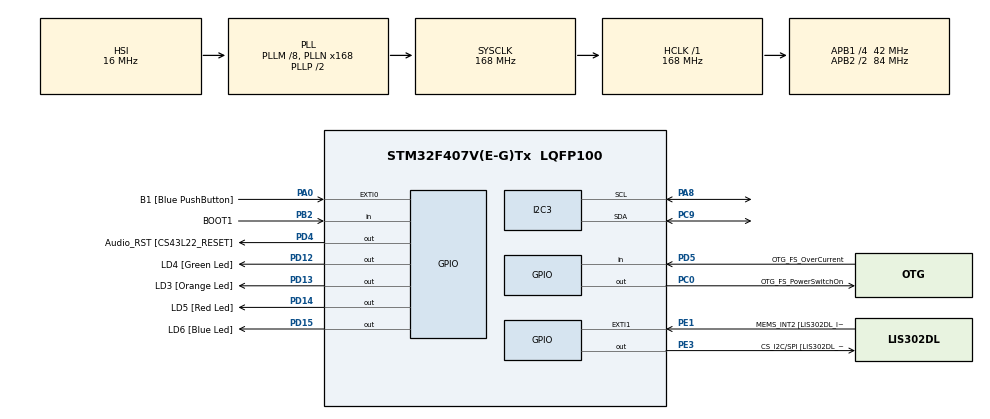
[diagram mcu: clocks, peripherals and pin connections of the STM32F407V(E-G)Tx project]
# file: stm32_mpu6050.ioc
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Mcu.Family=STM32F4
Mcu.Name=STM32F407V(E-G)Tx
Mcu.Package=LQFP100
NVIC.PriorityGroup=NVIC_PRIORITYGROUP_0
PA0-WKUP.GPIO_Label=B1 [Blue PushButton]
PA0-WKUP.Signal=GPXTI0
PA10.GPIO_Label=OTG_FS_ID
PA10.GPIO_Mode=GPIO_MODE_AF_PP
PA10.GPIO_PuPd=GPIO_NOPULL
PA10.GPIO_Speed=GPIO_SPEED_FREQ_LOW
PA10.Signal=USB_OTG_FS_ID
PA11.GPIO_Label=OTG_FS_DM
PA11.GPIO_Mode=GPIO_MODE_AF_PP
PA11.GPIO_PuPd=GPIO_NOPULL
PA11.GPIO_Speed=GPIO_SPEED_FREQ_LOW
PA11.Signal=USB_OTG_FS_DM
PA12.GPIO_Label=OTG_FS_DP
PA12.GPIO_Mode=GPIO_MODE_AF_PP
PA12.GPIO_PuPd=GPIO_NOPULL
PA12.GPIO_Speed=GPIO_SPEED_FREQ_LOW
PA12.Signal=USB_OTG_FS_DP
PA13.GPIO_Label=SWDIO
PA13.Signal=SYS_JTMS-SWDIO
PA14.GPIO_Label=SWCLK
PA14.Signal=SYS_JTCK-SWCLK
PA4.GPIO_Label=I2S3_WS [CS43L22_LRCK]
PA4.GPIO_Mode=GPIO_MODE_AF_PP
PA4.GPIO_PuPd=GPIO_NOPULL
PA4.GPIO_Speed=GPIO_SPEED_FREQ_LOW
PA4.Signal=I2S3_WS
PA5.GPIO_Label=SPI1_SCK [LIS302DL_SCL/SPC]
PA5.GPIO_Mode=GPIO_MODE_AF_PP
PA5.GPIO_PuPd=GPIO_NOPULL
PA5.GPIO_Speed=GPIO_SPEED_FREQ_LOW
PA5.Signal=SPI1_SCK
PA6.GPIO_Label=SPI1_MISO [LIS302DL_SDO]
PA6.GPIO_Mode=GPIO_MODE_AF_PP
PA6.GPIO_PuPd=GPIO_NOPULL
PA6.GPIO_Speed=GPIO_SPEED_FREQ_LOW
PA6.Signal=SPI1_MISO
PA7.GPIO_Label=SPI1_MOSI [LIS302DL_SDA/SDI/SDO]
PA7.GPIO_Mode=GPIO_MODE_AF_PP
PA7.GPIO_PuPd=GPIO_NOPULL
PA7.GPIO_Speed=GPIO_SPEED_FREQ_LOW
PA7.Signal=SPI1_MOSI
PA8.Mode=I2C
PA8.Signal=I2C3_SCL
PA9.GPIO_Label=VBUS_FS
PA9.GPIO_Mode=GPIO_MODE_INPUT
PA9.GPIO_PuPd=GPIO_NOPULL
PA9.Signal=USB_OTG_FS_VBUS
PB10.GPIO_Label=CLK_IN [MP45DT02_CLK]
PB10.GPIO_Mode=GPIO_MODE_AF_PP
PB10.GPIO_PuPd=GPIO_NOPULL
PB10.GPIO_Speed=GPIO_SPEED_FREQ_LOW
PB10.Signal=I2S2_CK
PB2.GPIO_Label=BOOT1
PB2.GPIO_Mode=GPIO_MODE_INPUT
PB2.GPIO_PuPd=GPIO_NOPULL
PB2.Signal=GPIO_Input
PB3.GPIO_Label=SWO
PB3.Signal=SYS_JTDO-SWO
PB6.GPIO_Label=Audio_SCL [CS43L22_SCL]
PB6.GPIO_Mode=GPIO_MODE_AF_OD
PB6.GPIO_PuPd=GPIO_NOPULL
PB6.GPIO_Speed=GPIO_SPEED_FREQ_LOW
PB6.Signal=I2C1_SCL
PB9.GPIO_Label=Audio_SDA [CS43L22_SDA]
PB9.GPIO_Mode=GPIO_MODE_AF_OD
PB9.GPIO_PuPd=GPIO_NOPULL
PB9.GPIO_Speed=GPIO_SPEED_FREQ_LOW
PB9.Signal=I2C1_SDA
PC0.GPIO_Label=OTG_FS_PowerSwitchOn
PC0.GPIO_PuPd=GPIO_NOPULL
PC0.GPIO_Speed=GPIO_SPEED_FREQ_LOW
PC0.PinState=GPIO_PIN_SET
PC0.Signal=GPIO_Output
PC10.GPIO_Label=I2S3_SCK [CS43L22_SCLK]
PC10.GPIO_Mode=GPIO_MODE_AF_PP
PC10.GPIO_PuPd=GPIO_NOPULL
PC10.GPIO_Speed=GPIO_SPEED_FREQ_LOW
PC10.Signal=I2S3_CK
PC12.GPIO_Label=I2S3_SD [CS43L22_SDIN]
PC12.GPIO_Mode=GPIO_MODE_AF_PP
PC12.GPIO_PuPd=GPIO_NOPULL
PC12.GPIO_Speed=GPIO_SPEED_FREQ_LOW
PC12.Signal=I2S3_SD
PC14-OSC32_IN.GPIO_Label=PC14-OSC32_IN
PC14-OSC32_IN.Signal=RCC_OSC32_IN
PC15-OSC32_OUT.GPIO_Label=PC15-OSC32_OUT
PC15-OSC32_OUT.Signal=RCC_OSC32_OUT
PC3.GPIO_Label=PDM_OUT [MP45DT02_DOUT]
PC3.GPIO_Mode=GPIO_MODE_AF_PP
PC3.GPIO_PuPd=GPIO_NOPULL
PC3.GPIO_Speed=GPIO_SPEED_FREQ_LOW
PC3.Signal=I2S2_SD
PC7.GPIO_Label=I2S3_MCK [CS43L22_MCLK]
PC7.GPIO_Mode=GPIO_MODE_AF_PP
PC7.GPIO_PuPd=GPIO_NOPULL
PC7.GPIO_Speed=GPIO_SPEED_FREQ_LOW
PC7.Signal=I2S3_MCK
PC9.Mode=I2C
PC9.Signal=I2C3_SDA
PD12.GPIO_Label=LD4 [Green Led]
PD12.GPIO_PuPd=GPIO_NOPULL
PD12.GPIO_Speed=GPIO_SPEED_FREQ_LOW
PD12.Signal=GPIO_Output
PD13.GPIO_Label=LD3 [Orange Led]
PD13.GPIO_PuPd=GPIO_NOPULL
PD13.GPIO_Speed=GPIO_SPEED_FREQ_LOW
PD13.Signal=GPIO_Output
PD14.GPIO_Label=LD5 [Red Led]
PD14.GPIO_PuPd=GPIO_NOPULL
PD14.GPIO_Speed=GPIO_SPEED_FREQ_LOW
PD14.Signal=GPIO_Output
PD15.GPIO_Label=LD6 [Blue Led]
PD15.GPIO_PuPd=GPIO_NOPULL
PD15.GPIO_Speed=GPIO_SPEED_FREQ_LOW
PD15.Signal=GPIO_Output
PD4.GPIO_Label=Audio_RST [CS43L22_RESET]
PD4.GPIO_PuPd=GPIO_NOPULL
PD4.GPIO_Speed=GPIO_SPEED_FREQ_LOW
PD4.Signal=GPIO_Output
PD5.GPIO_Label=OTG_FS_OverCurrent
PD5.GPIO_Mode=GPIO_MODE_INPUT
PD5.GPIO_PuPd=GPIO_NOPULL
PD5.Signal=GPIO_Input
PE1.GPIO_Label=MEMS_INT2 [LIS302DL_INT2]
PE1.GPIO_ModeDefaultEXTI=GPIO_MODE_EVT_RISING
PE1.GPIO_PuPd=GPIO_NOPULL
PE1.Signal=GPXTI1
PE3.GPIO_Label=CS_I2C/SPI [LIS302DL_CS_I2C/SPI]
PE3.GPIO_PuPd=GPIO_NOPULL
PE3.GPIO_Speed=GPIO_SPEED_FREQ_LOW
PE3.Signal=GPIO_Output
PH0-OSC_IN.GPIO_Label=PH0-OSC_IN
PH0-OSC_IN.Mode=HSE-External-Oscillator
PH0-OSC_IN.Signal=RCC_OSC_IN
PH1-OSC_OUT.GPIO_Label=PH1-OSC_OUT
PH1-OSC_OUT.Mode=HSE-External-Oscillator
PH1-OSC_OUT.Signal=RCC_OSC_OUT
ProjectManager.HeapSize=0x200
ProjectManager.StackSize=0x400
ProjectManager.TargetToolchain=MDK-ARM V5.32
RCC.48MHZClocksFreq_Value=48000000
RCC.AHBFreq_Value=168000000
RCC.APB1CLKDivider=RCC_HCLK_DIV4
RCC.APB1Freq_Value=42000000
RCC.APB1TimFreq_Value=84000000
RCC.APB2CLKDivider=RCC_HCLK_DIV2
RCC.APB2Freq_Value=84000000
RCC.APB2TimFreq_Value=168000000
RCC.CortexFreq_Value=168000000
RCC.HCLKFreq_Value=168000000
RCC.HSE_VALUE=8000000
RCC.HSI_VALUE=16000000
RCC.LSE_VALUE=32768
RCC.PLLM=8
RCC.PLLN=168
RCC.PLLQ=7
RCC.SYSCLKFreq_VALUE=168000000
RCC.SYSCLKSource=RCC_SYSCLKSOURCE_PLLCLK
RCC.VCOOutputFreq_Value=336000000
board=STM32F407G-DISC1

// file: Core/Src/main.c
/* USER CODE BEGIN Header */
/**
  ******************************************************************************
  * @file           : main.c
  * @brief          : Main program body
  ******************************************************************************
  * @attention
  *
  * Copyright (c) 2024 STMicroelectronics.
  * All rights reserved.
  *
  * This software is licensed under terms that can be found in the LICENSE file
  * in the root directory of this software component.
  * If no LICENSE file comes with this software, it is provided AS-IS.
  *
  ******************************************************************************
  */
/* USER CODE END Header */
#include "main.h"

/* USER CODE BEGIN Includes */
#include "i2c-lcd.h"
#include "stdio.h"
/* USER CODE END Includes */

I2C_HandleTypeDef hi2c3;

void SystemClock_Config(void);
static void MX_GPIO_Init(void);
static void MX_I2C3_Init(void);

/* USER CODE BEGIN 0 */
#define MPU6050_ADDR 				0xD0

#define SMPLRT_DIV_REG 			0x19
#define GYRO_CONFIG_REG 		0x1B
#define ACCEL_CONFIG_REG 		0x1C
#define ACCEL_XOUT_H_REG 		0x3B
#define TEMP_OUT_H_REG 			0x41
#define GYRO_XOUT_H_REG 		0x43
#define PWR_MGMT_1_REG 			0x6B
#define WHO_I_AM_REG 				0X75

void MPU6050_Init(void)
{
	uint8_t check, data;
	HAL_I2C_Mem_Read(&hi2c3, MPU6050_ADDR, WHO_I_AM_REG,1,&check,1,1000);
	if (check == 104) // if the device is present
	{
		// Power management register 0x6B we should write all 0's to wake up sensor
		data = 0;
		HAL_I2C_Mem_Write(&hi2c3, MPU6050_ADDR, PWR_MGMT_1_REG, 1, &data, 1, 1000);

		// Set the DATA RATE of 1Khz by writing SMPLRT_DIV register
		data = 0x07;
		HAL_I2C_Mem_Write(&hi2c3, MPU6050_ADDR, SMPLRT_DIV_REG, 1, &data, 1, 1000);\

		//Set Accelerometer configuration in ACCEL_CONFIG Register
		//XA_ST = 0, YA_ST = 0, ZA_ST = 0 ->  +-2g
		data = 0x00;
		HAL_I2C_Mem_Write(&hi2c3, MPU6050_ADDR, ACCEL_CONFIG_REG, 1, &data, 1, 1000);

		//Set Accelerometer configuration in ACCEL_CONFIG Register
		//XA_ST = 0, YA_ST = 0, ZA_ST = 0 ->  +-250%s
		data = 0x00;
		HAL_I2C_Mem_Write(&hi2c3, MPU6050_ADDR, GYRO_CONFIG_REG, 1, &data, 1, 1000);
	}
}

void MPU6050_Read_Accel(float *Ax, float *Ay, float *Az)
{
	uint8_t Rec_Data[6];
	uint16_t Accel_X_RAW, Accel_Y_RAW, Accel_Z_RAW;
//	float Ax, Ay, Az;
	// Read 6 BYTES of data starting from ACCEL_XOUT_H register

	HAL_I2C_Mem_Read (&hi2c3, MPU6050_ADDR, ACCEL_XOUT_H_REG, 1, Rec_Data, 6, 1000);

	Accel_X_RAW = (int16_t)(Rec_Data[0] << 8 | Rec_Data [1]);
	Accel_Y_RAW = (int16_t)(Rec_Data[2] << 8 | Rec_Data [3]);
	Accel_Z_RAW = (int16_t)(Rec_Data[4] << 8 | Rec_Data [5]);

	/*** convert the RAW values into acceleration in 'g'
			 we have to divide according to the Full scale value set in FS_SEL
			 I have configured FS_SEL = 0. So I am dividing by 16384.0
			 for more details check ACCEL_CONFIG Register              ****/

	*Ax = Accel_X_RAW/16384.0;  // get the float g
	*Ay = Accel_Y_RAW/16384.0;
	*Az = Accel_Z_RAW/16384.0;
}

void MPU6050_Read_Gyro (float *Gx, float *Gy, float *Gz)
{
	uint8_t Rec_Data[6];
	uint16_t Gyro_X_RAW,Gyro_Y_RAW, Gyro_Z_RAW;
//	float Gx, Gy, Gz;
		// Read 6 BYTES of data starting from GYRO_XOUT_H register

	HAL_I2C_Mem_Read (&hi2c3, MPU6050_ADDR, GYRO_XOUT_H_REG, 1, Rec_Data, 6, 1000);

	Gyro_X_RAW = (int16_t)(Rec_Data[0] << 8 | Rec_Data [1]);
	Gyro_Y_RAW = (int16_t)(Rec_Data[2] << 8 | Rec_Data [3]);
	Gyro_Z_RAW = (int16_t)(Rec_Data[4] << 8 | Rec_Data [5]);

	/*** convert the RAW values into dps (°/s)
			 we have to divide according to the Full scale value set in FS_SEL
			 I have configured FS_SEL = 0. So I am dividing by 131.0
			 for more details check GYRO_CONFIG Register              ****/

	*Gx = Gyro_X_RAW/131.0;
	*Gy = Gyro_Y_RAW/131.0;
	*Gz = Gyro_Z_RAW/131.0;
}
/* USER CODE END 0 */

int main(void)
{

  /* MCU Configuration--------------------------------------------------------*/

  /* Reset of all peripherals, Initializes the Flash interface and the Systick. */
  HAL_Init();

  /* Configure the system clock */
  SystemClock_Config();

  /* Initialize all configured peripherals */
  MX_GPIO_Init();
  MX_I2C3_Init();
  /* USER CODE BEGIN 2 */
	lcd_init();
	MPU6050_Init();

	lcd_send_string("Initialized..");
	HAL_Delay(1000);
	lcd_clear();

	lcd_send_cmd (0x80 | 0x45);
	lcd_send_string("MPU6050");

	HAL_Delay(1000);
	lcd_clear();

	char buf[6];
	float Gx, Gy, Gz;
	float Ax, Ay, Az;
  /* USER CODE END 2 */

  /* Infinite loop */
  while (1)
  {
    MPU6050_Read_Accel(&Ax, &Ay, &Az);
    MPU6050_Read_Gyro(&Gx, &Gy, &Gz);
		// Print on LCD;

		lcd_send_cmd(0x80 | 0x00 );
		lcd_send_string("Ax=");
	  sprintf(buf, "%.2f", Ax);
		lcd_send_string (buf);
		lcd_send_string ("g ");

		lcd_send_cmd(0x80 | 0x40 );
		lcd_send_string("Ay=");
	  sprintf(buf, "%.2f", Ay);
		lcd_send_string (buf);
		lcd_send_string ("g ");

		lcd_send_cmd(0x80 | 0x10 );
		lcd_send_string("Az=");
	  sprintf(buf, "%.2f", Az);
		lcd_send_string (buf);
		lcd_send_string ("g ");
//
		lcd_send_cmd(0x80 | 0x09 );
		lcd_send_string("Gx=");
	  sprintf(buf, "%.2f", Gx);
		lcd_send_string (buf);
//		lcd_send_string ("g ");

		lcd_send_cmd(0x80 | 0x49);
		lcd_send_string("Gy=");
	  sprintf(buf, "%.2f", Gy);
		lcd_send_string (buf);
//		lcd_send_string ("g ");

		lcd_send_cmd(0x80 | 0x18 );
		lcd_send_string("Gz=");
	  sprintf(buf, "%.2f", Gz);
		lcd_send_string (buf);
//		lcd_send_string ("g ");

  }
}

void SystemClock_Config(void)
{
  RCC_OscInitTypeDef RCC_OscInitStruct = {0};
  RCC_ClkInitTypeDef RCC_ClkInitStruct = {0};

  /** Configure the main internal regulator output voltage
  */
  __HAL_RCC_PWR_CLK_ENABLE();
  __HAL_PWR_VOLTAGESCALING_CONFIG(PWR_REGULATOR_VOLTAGE_SCALE1);

  /** Initializes the RCC Oscillators according to the specified parameters
  * in the RCC_OscInitTypeDef structure.
  */
  RCC_OscInitStruct.OscillatorType = RCC_OSCILLATORTYPE_HSI;
  RCC_OscInitStruct.HSIState = RCC_HSI_ON;
  RCC_OscInitStruct.HSICalibrationValue = RCC_HSICALIBRATION_DEFAULT;
  RCC_OscInitStruct.PLL.PLLState = RCC_PLL_ON;
  RCC_OscInitStruct.PLL.PLLSource = RCC_PLLSOURCE_HSI;
  RCC_OscInitStruct.PLL.PLLM = 8;
  RCC_OscInitStruct.PLL.PLLN = 168;
  RCC_OscInitStruct.PLL.PLLP = RCC_PLLP_DIV2;
  RCC_OscInitStruct.PLL.PLLQ = 7;
  if (HAL_RCC_OscConfig(&RCC_OscInitStruct) != HAL_OK)
  {
    Error_Handler();
  }

  /** Initializes the CPU, AHB and APB buses clocks
  */
  RCC_ClkInitStruct.ClockType = RCC_CLOCKTYPE_HCLK|RCC_CLOCKTYPE_SYSCLK
                              |RCC_CLOCKTYPE_PCLK1|RCC_CLOCKTYPE_PCLK2;
  RCC_ClkInitStruct.SYSCLKSource = RCC_SYSCLKSOURCE_PLLCLK;
  RCC_ClkInitStruct.AHBCLKDivider = RCC_SYSCLK_DIV1;
  RCC_ClkInitStruct.APB1CLKDivider = RCC_HCLK_DIV4;
  RCC_ClkInitStruct.APB2CLKDivider = RCC_HCLK_DIV2;

  if (HAL_RCC_ClockConfig(&RCC_ClkInitStruct, FLASH_LATENCY_5) != HAL_OK)
  {
    Error_Handler();
  }
}

static void MX_I2C3_Init(void)
{

  hi2c3.Instance = I2C3;
  hi2c3.Init.ClockSpeed = 100000;
  hi2c3.Init.DutyCycle = I2C_DUTYCYCLE_2;
  hi2c3.Init.OwnAddress1 = 0;
  hi2c3.Init.AddressingMode = I2C_ADDRESSINGMODE_7BIT;
  hi2c3.Init.DualAddressMode = I2C_DUALADDRESS_DISABLE;
  hi2c3.Init.OwnAddress2 = 0;
  hi2c3.Init.GeneralCallMode = I2C_GENERALCALL_DISABLE;
  hi2c3.Init.NoStretchMode = I2C_NOSTRETCH_DISABLE;
  if (HAL_I2C_Init(&hi2c3) != HAL_OK)
  {
    Error_Handler();
  }

}

static void MX_GPIO_Init(void)
{
  GPIO_InitTypeDef GPIO_InitStruct = {0};

  /* GPIO Ports Clock Enable */
  __HAL_RCC_GPIOE_CLK_ENABLE();
  __HAL_RCC_GPIOC_CLK_ENABLE();
  __HAL_RCC_GPIOH_CLK_ENABLE();
  __HAL_RCC_GPIOA_CLK_ENABLE();
  __HAL_RCC_GPIOB_CLK_ENABLE();
  __HAL_RCC_GPIOD_CLK_ENABLE();

  /*Configure GPIO pin Output Level */
  HAL_GPIO_WritePin(CS_I2C_SPI_GPIO_Port, CS_I2C_SPI_Pin, GPIO_PIN_RESET);

  /*Configure GPIO pin Output Level */
  HAL_GPIO_WritePin(OTG_FS_PowerSwitchOn_GPIO_Port, OTG_FS_PowerSwitchOn_Pin, GPIO_PIN_SET);

  /*Configure GPIO pin Output Level */
  HAL_GPIO_WritePin(GPIOD, LD4_Pin|LD3_Pin|LD5_Pin|LD6_Pin
                          |Audio_RST_Pin, GPIO_PIN_RESET);

  /*Configure GPIO pin : CS_I2C_SPI_Pin */
  GPIO_InitStruct.Pin = CS_I2C_SPI_Pin;
  GPIO_InitStruct.Mode = GPIO_MODE_OUTPUT_PP;
  GPIO_InitStruct.Pull = GPIO_NOPULL;
  GPIO_InitStruct.Speed = GPIO_SPEED_FREQ_LOW;
  HAL_GPIO_Init(CS_I2C_SPI_GPIO_Port, &GPIO_InitStruct);

  /*Configure GPIO pin : OTG_FS_PowerSwitchOn_Pin */
  GPIO_InitStruct.Pin = OTG_FS_PowerSwitchOn_Pin;
  GPIO_InitStruct.Mode = GPIO_MODE_OUTPUT_PP;
  GPIO_InitStruct.Pull = GPIO_NOPULL;
  GPIO_InitStruct.Speed = GPIO_SPEED_FREQ_LOW;
  HAL_GPIO_Init(OTG_FS_PowerSwitchOn_GPIO_Port, &GPIO_InitStruct);

  /*Configure GPIO pin : PDM_OUT_Pin */
  GPIO_InitStruct.Pin = PDM_OUT_Pin;
  GPIO_InitStruct.Mode = GPIO_MODE_AF_PP;
  GPIO_InitStruct.Pull = GPIO_NOPULL;
  GPIO_InitStruct.Speed = GPIO_SPEED_FREQ_LOW;
  GPIO_InitStruct.Alternate = GPIO_AF5_SPI2;
  HAL_GPIO_Init(PDM_OUT_GPIO_Port, &GPIO_InitStruct);

  /*Configure GPIO pin : B1_Pin */
  GPIO_InitStruct.Pin = B1_Pin;
  GPIO_InitStruct.Mode = GPIO_MODE_IT_RISING;
  GPIO_InitStruct.Pull = GPIO_NOPULL;
  HAL_GPIO_Init(B1_GPIO_Port, &GPIO_InitStruct);

  /*Configure GPIO pin : I2S3_WS_Pin */
  GPIO_InitStruct.Pin = I2S3_WS_Pin;
  GPIO_InitStruct.Mode = GPIO_MODE_AF_PP;
  GPIO_InitStruct.Pull = GPIO_NOPULL;
  GPIO_InitStruct.Speed = GPIO_SPEED_FREQ_LOW;
  GPIO_InitStruct.Alternate = GPIO_AF6_SPI3;
  HAL_GPIO_Init(I2S3_WS_GPIO_Port, &GPIO_InitStruct);

  /*Configure GPIO pins : SPI1_SCK_Pin SPI1_MISO_Pin SPI1_MOSI_Pin */
  GPIO_InitStruct.Pin = SPI1_SCK_Pin|SPI1_MISO_Pin|SPI1_MOSI_Pin;
  GPIO_InitStruct.Mode = GPIO_MODE_AF_PP;
  GPIO_InitStruct.Pull = GPIO_NOPULL;
  GPIO_InitStruct.Speed = GPIO_SPEED_FREQ_LOW;
  GPIO_InitStruct.Alternate = GPIO_AF5_SPI1;
  HAL_GPIO_Init(GPIOA, &GPIO_InitStruct);

  /*Configure GPIO pin : BOOT1_Pin */
  GPIO_InitStruct.Pin = BOOT1_Pin;
  GPIO_InitStruct.Mode = GPIO_MODE_INPUT;
  GPIO_InitStruct.Pull = GPIO_NOPULL;
  HAL_GPIO_Init(BOOT1_GPIO_Port, &GPIO_InitStruct);

  /*Configure GPIO pin : CLK_IN_Pin */
  GPIO_InitStruct.Pin = CLK_IN_Pin;
  GPIO_InitStruct.Mode = GPIO_MODE_AF_PP;
  GPIO_InitStruct.Pull = GPIO_NOPULL;
  GPIO_InitStruct.Speed = GPIO_SPEED_FREQ_LOW;
  GPIO_InitStruct.Alternate = GPIO_AF5_SPI2;
  HAL_GPIO_Init(CLK_IN_GPIO_Port, &GPIO_InitStruct);

  /*Configure GPIO pins : LD4_Pin LD3_Pin LD5_Pin LD6_Pin
                           Audio_RST_Pin */
  GPIO_InitStruct.Pin = LD4_Pin|LD3_Pin|LD5_Pin|LD6_Pin
                          |Audio_RST_Pin;
  GPIO_InitStruct.Mode = GPIO_MODE_OUTPUT_PP;
  GPIO_InitStruct.Pull = GPIO_NOPULL;
  GPIO_InitStruct.Speed = GPIO_SPEED_FREQ_LOW;
  HAL_GPIO_Init(GPIOD, &GPIO_InitStruct);

  /*Configure GPIO pins : I2S3_MCK_Pin I2S3_SCK_Pin I2S3_SD_Pin */
  GPIO_InitStruct.Pin = I2S3_MCK_Pin|I2S3_SCK_Pin|I2S3_SD_Pin;
  GPIO_InitStruct.Mode = GPIO_MODE_AF_PP;
  GPIO_InitStruct.Pull = GPIO_NOPULL;
  GPIO_InitStruct.Speed = GPIO_SPEED_FREQ_LOW;
  GPIO_InitStruct.Alternate = GPIO_AF6_SPI3;
  HAL_GPIO_Init(GPIOC, &GPIO_InitStruct);

  /*Configure GPIO pin : VBUS_FS_Pin */
  GPIO_InitStruct.Pin = VBUS_FS_Pin;
  GPIO_InitStruct.Mode = GPIO_MODE_INPUT;
  GPIO_InitStruct.Pull = GPIO_NOPULL;
  HAL_GPIO_Init(VBUS_FS_GPIO_Port, &GPIO_InitStruct);

  /*Configure GPIO pins : OTG_FS_ID_Pin OTG_FS_DM_Pin OTG_FS_DP_Pin */
  GPIO_InitStruct.Pin = OTG_FS_ID_Pin|OTG_FS_DM_Pin|OTG_FS_DP_Pin;
  GPIO_InitStruct.Mode = GPIO_MODE_AF_PP;
  GPIO_InitStruct.Pull = GPIO_NOPULL;
  GPIO_InitStruct.Speed = GPIO_SPEED_FREQ_LOW;
  GPIO_InitStruct.Alternate = GPIO_AF10_OTG_FS;
  HAL_GPIO_Init(GPIOA, &GPIO_InitStruct);

  /*Configure GPIO pin : OTG_FS_OverCurrent_Pin */
  GPIO_InitStruct.Pin = OTG_FS_OverCurrent_Pin;
  GPIO_InitStruct.Mode = GPIO_MODE_INPUT;
  GPIO_InitStruct.Pull = GPIO_NOPULL;
  HAL_GPIO_Init(OTG_FS_OverCurrent_GPIO_Port, &GPIO_InitStruct);

  /*Configure GPIO pins : Audio_SCL_Pin Audio_SDA_Pin */
  GPIO_InitStruct.Pin = Audio_SCL_Pin|Audio_SDA_Pin;
  GPIO_InitStruct.Mode = GPIO_MODE_AF_OD;
  GPIO_InitStruct.Pull = GPIO_NOPULL;
  GPIO_InitStruct.Speed = GPIO_SPEED_FREQ_LOW;
  GPIO_InitStruct.Alternate = GPIO_AF4_I2C1;
  HAL_GPIO_Init(GPIOB, &GPIO_InitStruct);

  /*Configure GPIO pin : MEMS_INT2_Pin */
  GPIO_InitStruct.Pin = MEMS_INT2_Pin;
  GPIO_InitStruct.Mode = GPIO_MODE_EVT_RISING;
  GPIO_InitStruct.Pull = GPIO_NOPULL;
  HAL_GPIO_Init(MEMS_INT2_GPIO_Port, &GPIO_InitStruct);

}

void Error_Handler(void)
{
  __disable_irq();
  while (1)
  {
  }
}
